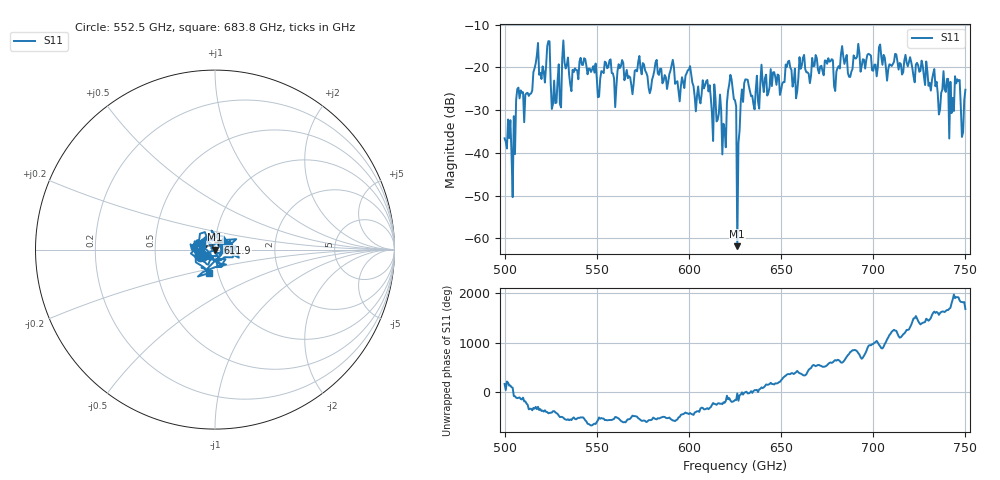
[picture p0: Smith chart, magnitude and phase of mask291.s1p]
!Created with skrf (http://scikit-rf.org).
# GHz S MA R 50.0
!freq magS11 angS11
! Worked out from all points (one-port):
!   401 points, 500 GHz to 750 GHz, reference 50 ohm
!   lowest |S11| = -61.8 dB at 626.2 GHz (marker M1), VSWR 1.00, Z = 50.1 - j0.0264 ohm
!   |S11| at or under -10 dB: start of sweep to end of sweep
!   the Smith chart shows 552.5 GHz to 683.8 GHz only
!   S11 on the Smith chart (normalised r, x): 552.5 GHz: 0.85, -0.07; 611.9 GHz: 1.03, +0.08; 683.8 GHz: 0.91, -0.24
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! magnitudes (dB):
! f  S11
! 500 GHz  -36.6
! 504.4 GHz  -50.3
! 507.5 GHz  -24.7
! 513.8 GHz  -26.2
! 516.9 GHz  -19.1
! 523.8 GHz  -13.9
! 526.9 GHz  -23.1
! 531.2 GHz  -18.0
! 552.5 GHz  -20.9
! 562.5 GHz  -20.2
! 578.8 GHz  -26.0
! 590.6 GHz  -19.4
! 593.8 GHz  -23.2
! 600 GHz  -20.5
! 611.9 GHz  -27.2
! 618.8 GHz  -33.2
! 622.5 GHz  -21.7
! 624.4 GHz  -27.4
! 625 GHz  -27.7
! 626.2 GHz  -61.8
! 631.2 GHz  -22.9
! 635 GHz  -28.6
! 656.2 GHz  -24.5
! 680 GHz  -21.0
! 683.8 GHz  -17.5
! 687.5 GHz  -22.2
! 718.8 GHz  -19.7
! 750 GHz  -25.2
